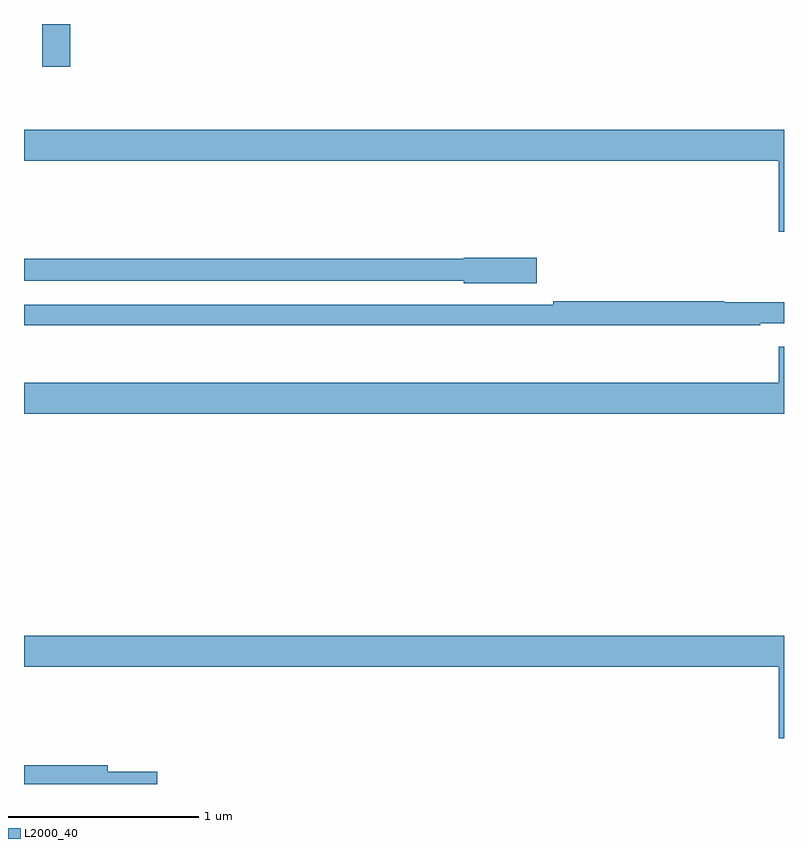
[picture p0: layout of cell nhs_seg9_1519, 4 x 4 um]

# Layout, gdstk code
import gdstk
lib = gdstk.Library(unit=1e-6, precision=1e-09)
def R(c, l, rs):  # rectangles x0, y0, x1, y1
    for r in rs: c.add(gdstk.rectangle(r[:2], r[2:], *l))
def P(c, l, *ps):  # polygons
    for p in ps: c.add(gdstk.Polygon(p, *l))
L2000_40 = (2000, 40)

nhs_seg9_1519 = lib.new_cell('nhs_seg9_1519')
R(nhs_seg9_1519, L2000_40, [(197.096,1170.276,197.243,1170.5)])
P(nhs_seg9_1519, L2000_40, [(201,1169.944),(197,1169.944),(197,1169.78),(200.972,1169.78),(200.972,1169.406),(201,1169.406)],
  [(199.699,1169.27),(199.314,1169.27),(199.314,1169.264),(197,1169.264),(197,1169.148),(199.314,1169.148),(199.314,1169.135),(199.699,1169.135)],
  [(200.876,1168.926),(201,1168.926),(201,1169.035),(200.686,1169.035),(200.686,1169.042),(199.786,1169.042),(199.786,1169.022),(197,1169.022),(197,1168.914),(200.876,1168.914)],
  [(201,1168.801),(200.972,1168.801),(200.972,1168.612),(197,1168.612),(197,1168.448),(201,1168.448)],
  [(201,1167.28),(197,1167.28),(197,1167.116),(200.972,1167.116),(200.972,1166.742),(201,1166.742)],
  [(197.701,1166.564),(197.44,1166.564),(197.44,1166.6),(197,1166.6),(197,1166.5),(197.701,1166.5)])

lib.write_gds('nhs_seg9_1519.gds')
